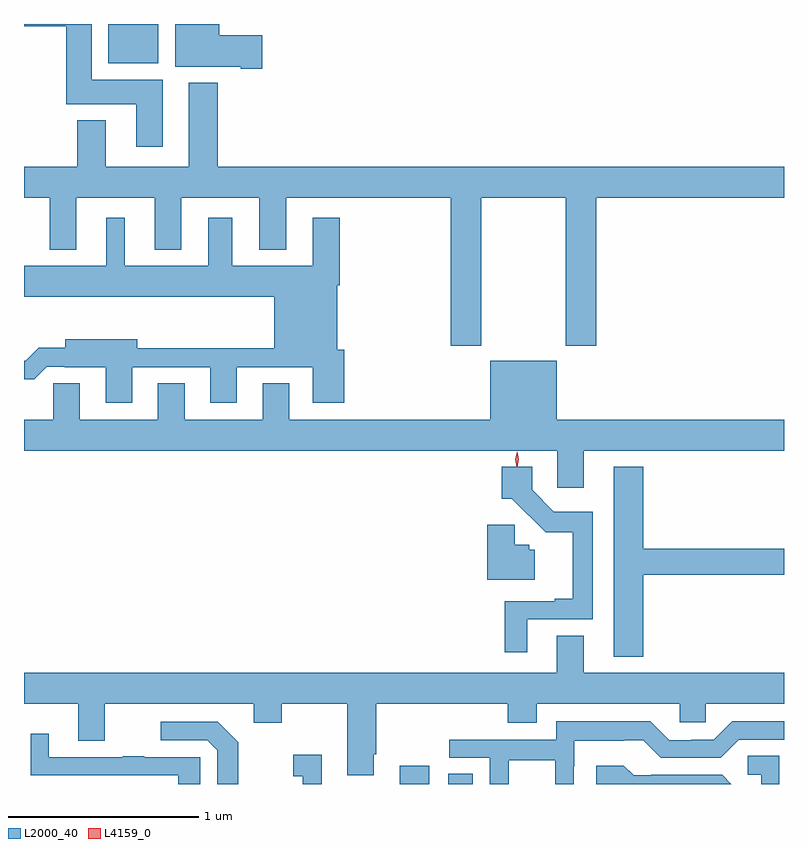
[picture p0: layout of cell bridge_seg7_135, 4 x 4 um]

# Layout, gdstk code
import gdstk
lib = gdstk.Library(unit=1e-6, precision=1e-09)
def R(c, l, rs):  # rectangles x0, y0, x1, y1
    for r in rs: c.add(gdstk.rectangle(r[:2], r[2:], *l))
def P(c, l, *ps):  # polygons
    for p in ps: c.add(gdstk.Polygon(p, *l))
L2000_40 = (2000, 40)
L4159_0 = (4159, 0)

bridge_seg7_135 = lib.new_cell('bridge_seg7_135')
R(bridge_seg7_135, L2000_40, [(733.427,1020.174,733.582,1020.271), (733.682,1020.174,733.813,1020.227), (731.894,1023.968,732.157,1024.174)])
P(bridge_seg7_135, L2000_40, [(732.181,1023.88),(731.806,1023.88),(731.806,1024.174),(731.45,1024.174),(731.45,1024.162),(731.672,1024.162),(731.672,1023.752),(732.041,1023.752),(732.041,1023.528),(732.181,1023.528)],
  [(732.703,1024.116),(732.478,1024.116),(732.478,1024.174),(732.245,1024.174),(732.245,1023.95),(732.59,1023.95),(732.59,1023.938),(732.703,1023.938)],
  [(733.857,1023.26),(734.302,1023.26),(734.302,1022.481),(734.462,1022.481),(734.462,1023.26),(735.45,1023.26),(735.45,1023.424),(732.47,1023.424),(732.47,1023.865),(732.317,1023.865),(732.317,1023.424),(731.881,1023.424),(731.881,1023.667),(731.729,1023.667),(731.729,1023.424),(731.45,1023.424),(731.45,1023.26),(731.585,1023.26),(731.585,1022.987),(731.725,1022.987),(731.725,1023.26),(732.137,1023.26),(732.137,1022.987),(732.277,1022.987),(732.277,1023.26),(732.689,1023.26),(732.689,1022.987),(732.829,1022.987),(732.829,1023.26),(733.697,1023.26),(733.697,1022.481),(733.857,1022.481)],
  [(732.019,1022.367),(732.431,1022.367),(732.431,1022.181),(732.571,1022.181),(732.571,1022.367),(732.971,1022.367),(732.971,1022.181),(733.136,1022.181),(733.136,1022.46),(733.099,1022.46),(733.099,1022.798),(733.112,1022.798),(733.112,1023.154),(732.971,1023.154),(732.971,1022.902),(732.547,1022.902),(732.547,1023.154),(732.419,1023.154),(732.419,1022.902),(731.98,1022.902),(731.98,1023.154),(731.882,1023.154),(731.882,1022.902),(731.45,1022.902),(731.45,1022.738),(732.767,1022.738),(732.767,1022.468),(732.046,1022.468),(732.046,1022.515),(731.666,1022.515),(731.666,1022.471),(731.528,1022.471),(731.458,1022.401),(731.45,1022.401),(731.45,1022.303),(731.504,1022.303),(731.571,1022.37),(731.665,1022.37),(731.665,1022.367),(731.879,1022.367),(731.879,1022.181),(732.019,1022.181)],
  [(734.395,1021.928),(735.45,1021.928),(735.45,1022.092),(734.254,1022.092),(734.254,1022.401),(733.904,1022.401),(733.904,1022.092),(732.847,1022.092),(732.847,1022.282),(732.707,1022.282),(732.707,1022.092),(732.295,1022.092),(732.295,1022.282),(732.155,1022.282),(732.155,1022.092),(731.743,1022.092),(731.743,1022.282),(731.604,1022.282),(731.604,1022.092),(731.45,1022.092),(731.45,1021.928),(734.256,1021.928),(734.256,1021.734),(734.395,1021.734)],
  [(734.708,1021.276),(735.45,1021.276),(735.45,1021.412),(734.708,1021.412),(734.708,1021.843),(734.555,1021.843),(734.555,1020.845),(734.708,1020.845)],
  [(734.098,1021.041),(734.443,1021.041),(734.443,1021.608),(734.238,1021.608),(734.124,1021.722),(734.124,1021.843),(733.964,1021.843),(733.964,1021.676),(734.017,1021.676),(734.195,1021.499),(734.339,1021.499),(734.339,1021.15),(734.243,1021.15),(734.243,1021.137),(733.981,1021.137),(733.981,1020.867),(734.098,1020.867)],
  [(734.137,1021.407),(734.109,1021.407),(734.109,1021.434),(734.033,1021.434),(734.033,1021.539),(733.889,1021.539),(733.889,1021.25),(734.137,1021.25)],
  [(731.45,1020.596),(731.735,1020.596),(731.735,1020.402),(731.875,1020.402),(731.875,1020.596),(732.659,1020.596),(732.659,1020.497),(732.807,1020.497),(732.807,1020.596),(733.151,1020.596),(733.151,1020.219),(733.291,1020.219),(733.291,1020.331),(733.304,1020.331),(733.304,1020.596),(733.997,1020.596),(733.997,1020.497),(734.149,1020.497),(734.149,1020.596),(734.901,1020.596),(734.901,1020.498),(735.039,1020.498),(735.039,1020.596),(735.45,1020.596),(735.45,1020.76),(734.395,1020.76),(734.395,1020.955),(734.255,1020.955),(734.255,1020.76),(731.45,1020.76)],
  [(734.001,1020.3),(734.245,1020.3),(734.245,1020.174),(734.344,1020.174),(734.344,1020.267),(734.346,1020.267),(734.346,1020.401),(734.609,1020.401),(734.609,1020.405),(734.709,1020.405),(734.802,1020.312),(735.117,1020.312),(735.213,1020.408),(735.45,1020.408),(735.45,1020.504),(735.177,1020.504),(735.081,1020.408),(734.963,1020.408),(734.963,1020.405),(734.847,1020.405),(734.747,1020.505),(734.25,1020.505),(734.25,1020.408),(733.689,1020.408),(733.689,1020.312),(733.902,1020.312),(733.902,1020.174),(734.001,1020.174)],
  [(732.577,1020.395),(732.471,1020.501),(732.171,1020.501),(732.171,1020.405),(732.414,1020.405),(732.468,1020.351),(732.468,1020.174),(732.577,1020.174)],
  [(732.378,1020.315),(732.083,1020.315),(732.083,1020.32),(731.971,1020.32),(731.971,1020.315),(731.581,1020.315),(731.581,1020.439),(731.485,1020.439),(731.485,1020.22),(731.587,1020.22),(731.587,1020.219),(732.262,1020.219),(732.262,1020.174),(732.378,1020.174)],
  [(733.016,1020.328),(732.867,1020.328),(732.867,1020.215),(732.918,1020.215),(732.918,1020.174),(733.016,1020.174)],
  [(735.426,1020.323),(735.258,1020.323),(735.258,1020.222),(735.33,1020.222),(735.33,1020.174),(735.426,1020.174)],
  [(735.124,1020.222),(734.752,1020.222),(734.752,1020.219),(734.658,1020.219),(734.606,1020.271),(734.463,1020.271),(734.463,1020.174),(735.172,1020.174)])
P(bridge_seg7_135, L4159_0, [(734.044,1021.841),(734.044,1021.841),(734.035,1021.882),(734.045,1021.923),(734.045,1021.923),(734.045,1021.923),(734.055,1021.882),(734.045,1021.841)])

lib.write_gds('bridge_seg7_135.gds')
